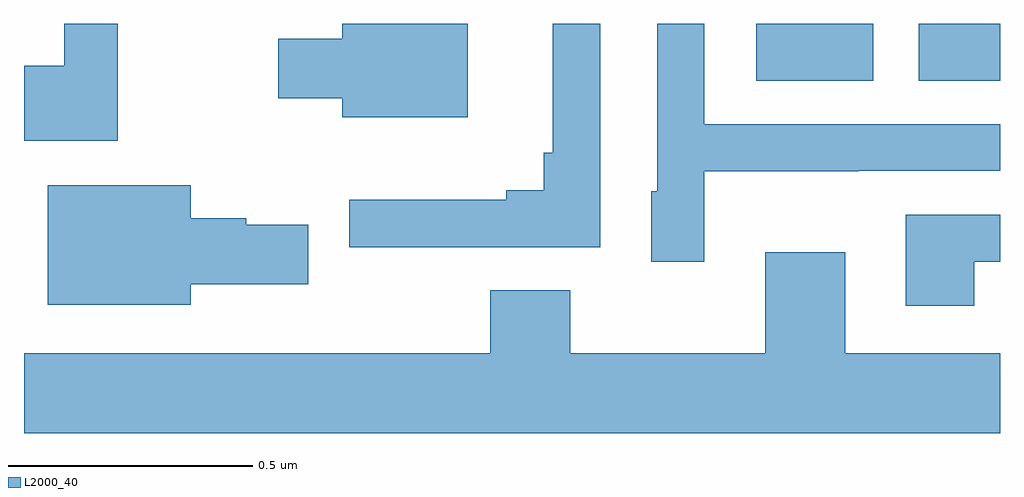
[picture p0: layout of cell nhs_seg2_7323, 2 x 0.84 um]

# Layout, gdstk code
import gdstk
lib = gdstk.Library(unit=1e-6, precision=1e-09)
def R(c, l, rs):  # rectangles x0, y0, x1, y1
    for r in rs: c.add(gdstk.rectangle(r[:2], r[2:], *l))
def P(c, l, *ps):  # polygons
    for p in ps: c.add(gdstk.Polygon(p, *l))
L2000_40 = (2000, 40)

nhs_seg2_7323 = lib.new_cell('nhs_seg2_7323')
R(nhs_seg2_7323, L2000_40, [(203.501,657.683,203.74,657.8), (203.834,657.683,204,657.8)])
P(nhs_seg2_7323, L2000_40, [(202.192,657.8),(202.082,657.8),(202.082,657.713),(202,657.713),(202,657.56),(202.192,657.56)],
  [(203.394,657.497),(203.711,657.497),(203.711,657.498),(204,657.498),(204,657.594),(203.394,657.594),(203.394,657.8),(203.298,657.8),(203.298,657.456),(203.285,657.456),(203.285,657.312),(203.394,657.312)],
  [(202.909,657.8),(202.652,657.8),(202.652,657.769),(202.521,657.769),(202.521,657.647),(202.652,657.647),(202.652,657.608),(202.909,657.608)],
  [(203.181,657.8),(203.084,657.8),(203.084,657.535),(203.065,657.535),(203.065,657.458),(202.988,657.458),(202.988,657.439),(202.667,657.439),(202.667,657.342),(203.181,657.342)],
  [(202.342,657.266),(202.582,657.266),(202.582,657.388),(202.455,657.388),(202.455,657.401),(202.342,657.401),(202.342,657.469),(202.049,657.469),(202.049,657.224),(202.342,657.224)],
  [(203.947,657.312),(204,657.312),(204,657.408),(203.807,657.408),(203.807,657.222),(203.947,657.222)],
  [(204,657.124),(203.683,657.124),(203.683,657.331),(203.519,657.331),(203.519,657.124),(203.119,657.124),(203.119,657.253),(202.955,657.253),(202.955,657.124),(202,657.124),(202,656.96),(204,656.96)])

lib.write_gds('nhs_seg2_7323.gds')
